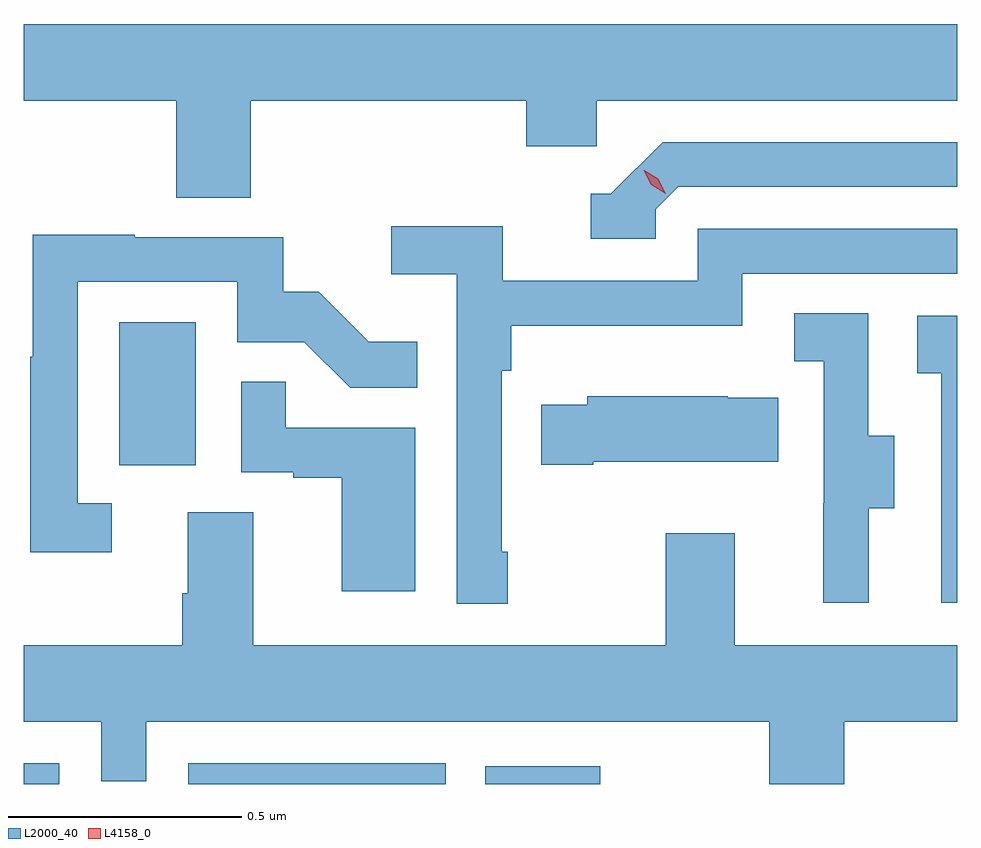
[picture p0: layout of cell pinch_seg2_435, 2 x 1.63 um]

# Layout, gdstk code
import gdstk
lib = gdstk.Library(unit=1e-6, precision=1e-09)
def R(c, l, rs):  # rectangles x0, y0, x1, y1
    for r in rs: c.add(gdstk.rectangle(r[:2], r[2:], *l))
def P(c, l, *ps):  # polygons
    for p in ps: c.add(gdstk.Polygon(p, *l))
L2000_40 = (2000, 40)
L4158_0 = (4158, 0)

pinch_seg2_435 = lib.new_cell('pinch_seg2_435')
R(pinch_seg2_435, L2000_40, [(923.024,614.203,923.1,614.247), (923.376,614.203,923.928,614.247), (924.013,614.203,924.259,614.241), (923.228,614.886,923.392,615.193)])
P(pinch_seg2_435, L2000_40, [(923.51,615.668),(924.101,615.668),(924.101,615.57),(924.252,615.57),(924.252,615.668),(925.024,615.668),(925.024,615.832),(923.024,615.832),(923.024,615.668),(923.35,615.668),(923.35,615.46),(923.51,615.46)],
  [(924.378,615.435),(924.426,615.483),(925.024,615.483),(925.024,615.579),(924.393,615.579),(924.282,615.468),(924.239,615.468),(924.239,615.372),(924.378,615.372)],
  [(924.061,614.701),(924.048,614.701),(924.048,615.089),(924.068,615.089),(924.068,615.185),(924.564,615.185),(924.564,615.297),(925.024,615.297),(925.024,615.393),(924.468,615.393),(924.468,615.282),(924.05,615.282),(924.05,615.398),(923.811,615.398),(923.811,615.296),(923.952,615.296),(923.952,614.589),(924.061,614.589)],
  [(923.212,614.805),(923.139,614.805),(923.139,615.279),(923.481,615.279),(923.481,615.15),(923.625,615.15),(923.723,615.052),(923.867,615.052),(923.867,615.151),(923.763,615.151),(923.656,615.258),(923.58,615.258),(923.58,615.375),(923.261,615.375),(923.261,615.38),(923.043,615.38),(923.043,615.119),(923.038,615.119),(923.038,614.7),(923.212,614.7)],
  [(924.835,614.794),(924.889,614.794),(924.889,614.949),(924.834,614.949),(924.834,615.212),(924.675,615.212),(924.675,615.109),(924.738,615.109),(924.738,614.805),(924.737,614.805),(924.737,614.592),(924.835,614.592)],
  [(925.024,615.207),(924.939,615.207),(924.939,615.083),(924.99,615.083),(924.99,614.592),(925.024,614.592)],
  [(923.863,614.967),(923.585,614.967),(923.585,615.065),(923.49,615.065),(923.49,614.871),(923.601,614.871),(923.601,614.859),(923.705,614.859),(923.705,614.616),(923.863,614.616)],
  [(924.244,614.894),(924.641,614.894),(924.641,615.031),(924.533,615.031),(924.533,615.034),(924.231,615.034),(924.231,615.016),(924.133,615.016),(924.133,614.887),(924.244,614.887)],
  [(923.024,614.336),(923.19,614.336),(923.19,614.209),(923.286,614.209),(923.286,614.336),(924.622,614.336),(924.622,614.203),(924.782,614.203),(924.782,614.336),(925.024,614.336),(925.024,614.5),(924.547,614.5),(924.547,614.74),(924.4,614.74),(924.4,614.5),(923.515,614.5),(923.515,614.786),(923.375,614.786),(923.375,614.612),(923.363,614.612),(923.363,614.5),(923.024,614.5)])
P(pinch_seg2_435, L4158_0, [(924.4,615.468),(924.369,615.487),(924.353,615.519),(924.353,615.519),(924.354,615.519),(924.384,615.5),(924.4,615.468),(924.4,615.468)])

lib.write_gds('pinch_seg2_435.gds')
